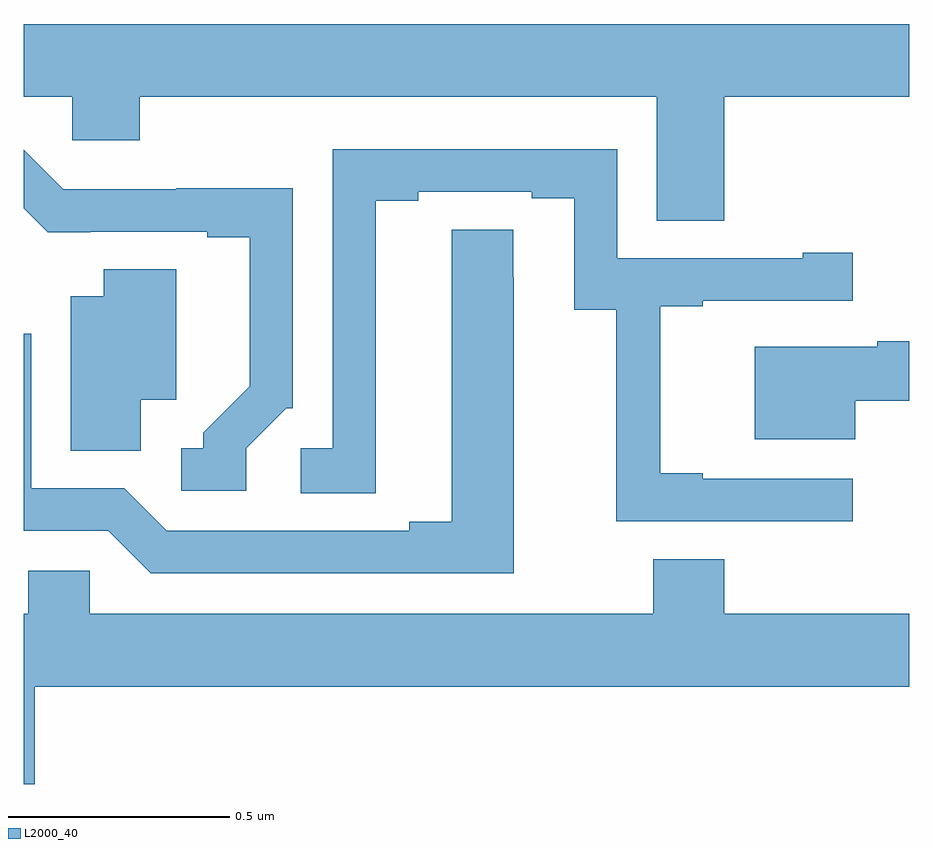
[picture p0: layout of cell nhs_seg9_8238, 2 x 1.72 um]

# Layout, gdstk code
import gdstk
lib = gdstk.Library(unit=1e-6, precision=1e-09)
def P(c, l, *ps):  # polygons
    for p in ps: c.add(gdstk.Polygon(p, *l))
L2000_40 = (2000, 40)

nhs_seg9_8238 = lib.new_cell('nhs_seg9_8238')
P(nhs_seg9_8238, L2000_40, [(214,1231.052),(214.11,1231.052),(214.11,1230.954),(214.262,1230.954),(214.262,1231.052),(215.429,1231.052),(215.429,1230.772),(215.582,1230.772),(215.582,1231.052),(216,1231.052),(216,1231.216),(214,1231.216)],
  [(215.872,1230.189),(215.533,1230.189),(215.533,1230.202),(215.438,1230.202),(215.438,1230.579),(215.533,1230.579),(215.533,1230.591),(215.872,1230.591),(215.872,1230.7),(215.759,1230.7),(215.759,1230.687),(215.34,1230.687),(215.34,1230.933),(214.698,1230.933),(214.698,1230.258),(214.626,1230.258),(214.626,1230.157),(214.795,1230.157),(214.795,1230.817),(214.891,1230.817),(214.891,1230.837),(215.147,1230.837),(215.147,1230.822),(215.243,1230.822),(215.243,1230.571),(215.338,1230.571),(215.338,1230.093),(215.872,1230.093)],
  [(214.503,1230.258),(214.593,1230.348),(214.608,1230.348),(214.608,1230.845),(214.345,1230.845),(214.345,1230.843),(214.089,1230.843),(214,1230.932),(214,1230.8),(214.054,1230.746),(214.15,1230.746),(214.15,1230.747),(214.415,1230.747),(214.415,1230.735),(214.511,1230.735),(214.511,1230.398),(214.406,1230.293),(214.406,1230.258),(214.356,1230.258),(214.356,1230.162),(214.503,1230.162)],
  [(215.107,1230.644),(215.106,1230.644),(215.106,1230.752),(214.967,1230.752),(214.967,1230.092),(214.871,1230.092),(214.871,1230.072),(214.323,1230.072),(214.227,1230.168),(214.017,1230.168),(214.017,1230.517),(214,1230.517),(214,1230.072),(214.191,1230.072),(214.287,1229.976),(215.107,1229.976)],
  [(214.264,1230.368),(214.345,1230.368),(214.345,1230.662),(214.181,1230.662),(214.181,1230.601),(214.106,1230.601),(214.106,1230.253),(214.264,1230.253)],
  [(215.878,1230.365),(216,1230.365),(216,1230.5),(215.927,1230.5),(215.927,1230.487),(215.651,1230.487),(215.651,1230.278),(215.878,1230.278)],
  [(214.025,1229.72),(216,1229.72),(216,1229.884),(215.582,1229.884),(215.582,1230.008),(215.422,1230.008),(215.422,1229.884),(214.149,1229.884),(214.149,1229.982),(214.011,1229.982),(214.011,1229.884),(214,1229.884),(214,1229.5),(214.025,1229.5)])

lib.write_gds('nhs_seg9_8238.gds')
